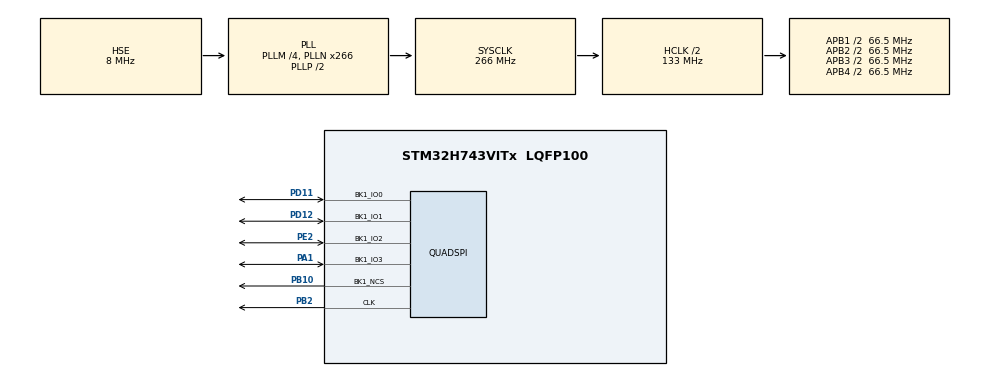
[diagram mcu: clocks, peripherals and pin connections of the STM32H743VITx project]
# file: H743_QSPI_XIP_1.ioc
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CORTEX_M7.CPU_DCache=Enabled
CORTEX_M7.CPU_ICache=Enabled
Mcu.Family=STM32H7
Mcu.Name=STM32H743VITx
Mcu.Package=LQFP100
NVIC.PriorityGroup=NVIC_PRIORITYGROUP_4
PA1.GPIO_Speed=GPIO_SPEED_FREQ_VERY_HIGH
PA1.Mode=Single Bank 1
PA1.Signal=QUADSPI_BK1_IO3
PA13\ (JTMS/SWDIO).Mode=Serial_Wire
PA13\ (JTMS/SWDIO).Signal=DEBUG_JTMS-SWDIO
PA14\ (JTCK/SWCLK).Mode=Serial_Wire
PA14\ (JTCK/SWCLK).Signal=DEBUG_JTCK-SWCLK
PB10.GPIO_Speed=GPIO_SPEED_FREQ_VERY_HIGH
PB10.Mode=Single Bank 1
PB10.Signal=QUADSPI_BK1_NCS
PB2.GPIO_Speed=GPIO_SPEED_FREQ_VERY_HIGH
PB2.Mode=Single Bank 1
PB2.Signal=QUADSPI_CLK
PD11.GPIO_Speed=GPIO_SPEED_FREQ_VERY_HIGH
PD11.Mode=Single Bank 1
PD11.Signal=QUADSPI_BK1_IO0
PD12.GPIO_Speed=GPIO_SPEED_FREQ_VERY_HIGH
PD12.Mode=Single Bank 1
PD12.Signal=QUADSPI_BK1_IO1
PE2.GPIO_Speed=GPIO_SPEED_FREQ_VERY_HIGH
PE2.Mode=Single Bank 1
PE2.Signal=QUADSPI_BK1_IO2
PH0-OSC_IN\ (PH0).Mode=HSE-External-Oscillator
PH0-OSC_IN\ (PH0).Signal=RCC_OSC_IN
PH1-OSC_OUT\ (PH1).Mode=HSE-External-Oscillator
PH1-OSC_OUT\ (PH1).Signal=RCC_OSC_OUT
ProjectManager.HeapSize=0x200
ProjectManager.StackSize=0x400
ProjectManager.TargetToolchain=STM32CubeIDE
QUADSPI.ChipSelectHighTime=QSPI_CS_HIGH_TIME_5_CYCLE
QUADSPI.ClockPrescaler=1
QUADSPI.FifoThreshold=4
QUADSPI.FlashSize=22
QUADSPI.SampleShifting=QSPI_SAMPLE_SHIFTING_HALFCYCLE
RCC.ADCFreq_Value=16125000
RCC.APB1Freq_Value=66500000
RCC.APB2Freq_Value=66500000
RCC.APB3Freq_Value=66500000
RCC.APB4Freq_Value=66500000
RCC.CortexFreq_Value=266000000
RCC.D1PPRE=RCC_APB3_DIV2
RCC.D2PPRE1=RCC_APB1_DIV2
RCC.D2PPRE2=RCC_APB2_DIV2
RCC.D3PPRE=RCC_APB4_DIV2
RCC.DIVM1=4
RCC.DIVN1=266
RCC.HCLKFreq_Value=133000000
RCC.HPRE=RCC_HCLK_DIV2
RCC.HSE_VALUE=8000000
RCC.PLL2FRACN=0
RCC.PLL3FRACN=0
RCC.PLLFRACN=0
RCC.PLLSourceVirtual=RCC_PLLSOURCE_HSE
RCC.SYSCLKFreq_VALUE=266000000
RCC.SYSCLKSource=RCC_SYSCLKSOURCE_PLLCLK
RCC.USBFreq_Value=266000000
board=custom

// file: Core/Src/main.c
/* USER CODE BEGIN Header */
/**
  ******************************************************************************
  * @file           : main.c
  * @brief          : Main program body
  ******************************************************************************
  * @attention
  *
  * <h2><center>&copy; Copyright (c) 2021 STMicroelectronics.
  * All rights reserved.</center></h2>
  *
  * This software component is licensed by ST under BSD 3-Clause license,
  * the "License"; You may not use this file except in compliance with the
  * License. You may obtain a copy of the License at:
  *                        opensource.org/licenses/BSD-3-Clause
  *
  ******************************************************************************
  */
/* USER CODE END Header */
#include "main.h"
#include "quadspi.h"
#include "gpio.h"

/* USER CODE BEGIN Includes */
#include "string.h"
#include "stdio.h"
/* USER CODE END Includes */

void SystemClock_Config(void);

/* USER CODE BEGIN 0 */

u8 writebuf[]={"Hello world from QSPI Memory Mapped Mode !"};
u8 readbuf[100];

typedef void(*pFunction)(void);
pFunction JumpToApplication;
#define APPLICATION_ADDRESS 0X90000000

/* USER CODE END 0 */

int main(void)
{

  /* Enable I-Cache---------------------------------------------------------*/
  SCB_EnableICache();

  /* Enable D-Cache---------------------------------------------------------*/
  SCB_EnableDCache();

  /* MCU Configuration--------------------------------------------------------*/

  /* Reset of all peripherals, Initializes the Flash interface and the Systick. */
  HAL_Init();

  /* Configure the system clock */
  SystemClock_Config();

  /* Initialize all configured peripherals */
  MX_GPIO_Init();
  MX_QUADSPI_Init();
  /* USER CODE BEGIN 2 */
  if (CSP_QUADSPI_Init() != HAL_OK)
  {
	  Error_Handler();
  }

  HAL_Delay(100);
/*
  if (CSP_QSPI_Erase_Chip() != HAL_OK)  //approx 13 second to execute
  {
	  Error_Handler();
  }

  if (CSP_QSPI_WriteMemory(writebuf, 0, sizeof(writebuf)) != HAL_OK)
  {
	  Error_Handler();
  }

  if (CSP_QSPI_Read(readbuf, 0, 100) != HAL_OK)
  {
	  Error_Handler();
  }
  */

  if (CSP_QSPI_EnableMemoryMappedMode() != HAL_OK)
  {
	  Error_Handler();
  }

 // memcpy(writebuf,(u8*)0x90000000,50);

  SCB_DisableDCache();
  SCB_DisableICache();

  SysTick->CTRL=0;

  JumpToApplication=(pFunction) (*(__IO u32*) (APPLICATION_ADDRESS+4));
  __set_MSP(*(__IO u32*) APPLICATION_ADDRESS);
  JumpToApplication();
  /* USER CODE END 2 */

  /* Infinite loop */
  while (1)
  {

    /* USER CODE BEGIN 3 */

	  HAL_Delay(1000);
  }
  /* USER CODE END 3 */
}

void SystemClock_Config(void)
{
  RCC_OscInitTypeDef RCC_OscInitStruct = {0};
  RCC_ClkInitTypeDef RCC_ClkInitStruct = {0};

  /** Supply configuration update enable
  */
  HAL_PWREx_ConfigSupply(PWR_LDO_SUPPLY);
  /** Configure the main internal regulator output voltage
  */
  __HAL_PWR_VOLTAGESCALING_CONFIG(PWR_REGULATOR_VOLTAGE_SCALE2);

  while(!__HAL_PWR_GET_FLAG(PWR_FLAG_VOSRDY)) {}
  /** Initializes the RCC Oscillators according to the specified parameters
  * in the RCC_OscInitTypeDef structure.
  */
  RCC_OscInitStruct.OscillatorType = RCC_OSCILLATORTYPE_HSE;
  RCC_OscInitStruct.HSEState = RCC_HSE_ON;
  RCC_OscInitStruct.PLL.PLLState = RCC_PLL_ON;
  RCC_OscInitStruct.PLL.PLLSource = RCC_PLLSOURCE_HSE;
  RCC_OscInitStruct.PLL.PLLM = 4;
  RCC_OscInitStruct.PLL.PLLN = 266;
  RCC_OscInitStruct.PLL.PLLP = 2;
  RCC_OscInitStruct.PLL.PLLQ = 2;
  RCC_OscInitStruct.PLL.PLLR = 2;
  RCC_OscInitStruct.PLL.PLLRGE = RCC_PLL1VCIRANGE_1;
  RCC_OscInitStruct.PLL.PLLVCOSEL = RCC_PLL1VCOWIDE;
  RCC_OscInitStruct.PLL.PLLFRACN = 0;
  if (HAL_RCC_OscConfig(&RCC_OscInitStruct) != HAL_OK)
  {
    Error_Handler();
  }
  /** Initializes the CPU, AHB and APB buses clocks
  */
  RCC_ClkInitStruct.ClockType = RCC_CLOCKTYPE_HCLK|RCC_CLOCKTYPE_SYSCLK
                              |RCC_CLOCKTYPE_PCLK1|RCC_CLOCKTYPE_PCLK2
                              |RCC_CLOCKTYPE_D3PCLK1|RCC_CLOCKTYPE_D1PCLK1;
  RCC_ClkInitStruct.SYSCLKSource = RCC_SYSCLKSOURCE_PLLCLK;
  RCC_ClkInitStruct.SYSCLKDivider = RCC_SYSCLK_DIV1;
  RCC_ClkInitStruct.AHBCLKDivider = RCC_HCLK_DIV2;
  RCC_ClkInitStruct.APB3CLKDivider = RCC_APB3_DIV2;
  RCC_ClkInitStruct.APB1CLKDivider = RCC_APB1_DIV2;
  RCC_ClkInitStruct.APB2CLKDivider = RCC_APB2_DIV2;
  RCC_ClkInitStruct.APB4CLKDivider = RCC_APB4_DIV2;

  if (HAL_RCC_ClockConfig(&RCC_ClkInitStruct, FLASH_LATENCY_2) != HAL_OK)
  {
    Error_Handler();
  }
}

void Error_Handler(void)
{
  __disable_irq();
  while (1)
  {
  }
}

/************************ (C) COPYRIGHT STMicroelectronics *****END OF FILE****/
